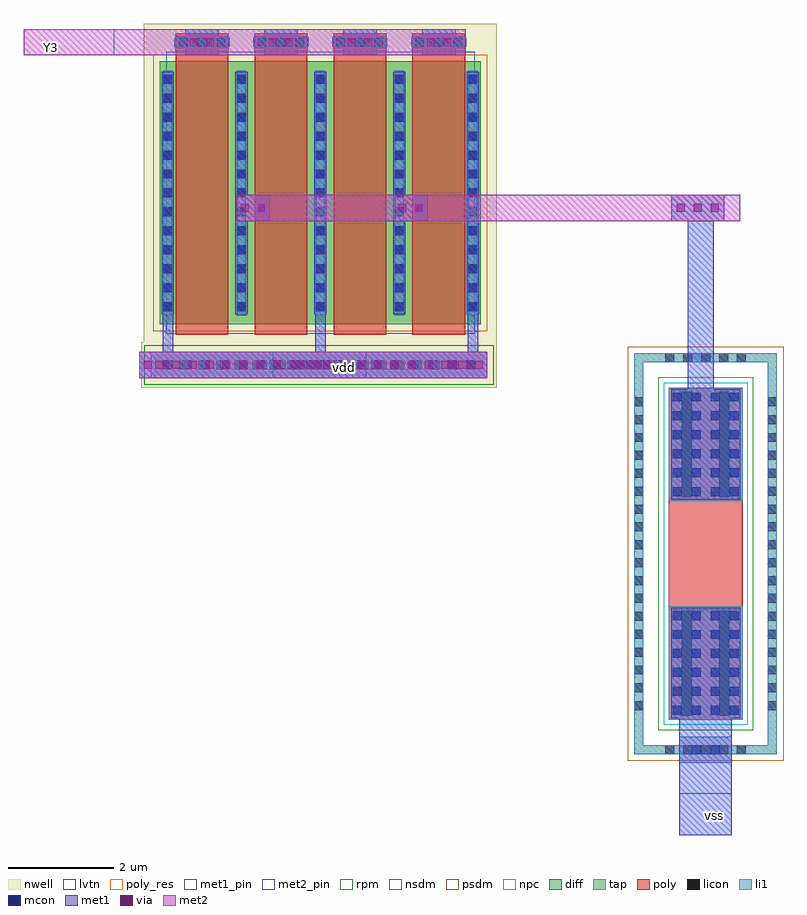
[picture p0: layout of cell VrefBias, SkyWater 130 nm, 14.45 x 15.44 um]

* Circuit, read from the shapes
.subckt VrefBias Y3 vdd vss
XM1 n1 Y3 vdd vdd sky130_fd_pr__pfet_01v8_lvt w=5 l=1 m=4
XR2 n1 vss vss sky130_fd_pr__res_high_po w=1.41 l=2
.ends

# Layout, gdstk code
import gdstk
lib = gdstk.Library(unit=1e-6, precision=5e-09)
def R(c, l, rs):  # rectangles x0, y0, x1, y1
    for r in rs: c.add(gdstk.rectangle(r[:2], r[2:], *l))
def A(c, l, x, y, w, h, nx, ny, dx, dy):  # array of equal rectangles
    R(c, l, [(x+i*dx, y+j*dy, x+i*dx+w, y+j*dy+h) for i in range(nx) for j in range(ny)])
nwell = (64, 20)
diff = (65, 20)
tap = (65, 44)
poly_res = (66, 13)
poly = (66, 20)
licon = (66, 44)
li1 = (67, 20)
mcon = (67, 44)
met1_pin = (68, 16)
met1 = (68, 20)
via = (68, 44)
met2_pin = (69, 16)
met2 = (69, 20)
rpm = (86, 20)
nsdm = (93, 44)
psdm = (94, 20)
npc = (95, 20)
lvtn = (125, 44)

vias_gen = lib.new_cell('vias_gen')
R(vias_gen, met1, [(0,0,0.64,0.5)])
R(vias_gen, via, [(0.085,0.175,0.235,0.325), (0.405,0.175,0.555,0.325)])
R(vias_gen, met2, [(0,0,0.64,0.5)])

pfet = lib.new_cell('pfet')
R(pfet, nwell, [(-0.305,-0.38,6.405,5.72)])
R(pfet, diff, [(0,0,6.1,5)])
A(pfet, poly, 0.3, -0.2, 1, 5.4, 4, 1, 1.5, 0)
A(pfet, poly, 0.3, 5.2, 1, 0.33, 4, 1, 1.5, 0)
A(pfet, licon, 0.065, 0.255, 0.17, 0.17, 1, 13, 0, 0.36)
A(pfet, licon, 1.465, 0.255, 0.17, 0.17, 3, 13, 1.5, 0.36)
A(pfet, licon, 5.865, 0.255, 0.17, 0.17, 1, 13, 0, 0.36)
A(pfet, licon, 0.355, 5.28, 0.17, 0.17, 3, 1, 0.36, 0)
A(pfet, licon, 1.855, 5.28, 0.17, 0.17, 3, 1, 0.36, 0)
A(pfet, licon, 3.355, 5.28, 0.17, 0.17, 3, 1, 0.36, 0)
A(pfet, licon, 4.855, 5.28, 0.17, 0.17, 3, 1, 0.36, 0)
A(pfet, li1, 1.465, 0.175, 0.17, 4.65, 3, 1, 1.5, 0)
A(pfet, li1, 0.275, 5.28, 1.05, 0.17, 4, 1, 1.5, 0)
R(pfet, li1, [(0.065,0.175,0.235,4.825), (5.865,0.175,6.035,4.825)])
A(pfet, mcon, 0.065, 0.255, 0.17, 0.17, 1, 13, 0, 0.36)
A(pfet, mcon, 1.465, 0.255, 0.17, 0.17, 3, 13, 1.5, 0.36)
A(pfet, mcon, 5.865, 0.255, 0.17, 0.17, 1, 13, 0, 0.36)
A(pfet, mcon, 0.355, 5.28, 0.17, 0.17, 3, 1, 0.36, 0)
A(pfet, mcon, 1.855, 5.28, 0.17, 0.17, 3, 1, 0.36, 0)
A(pfet, mcon, 3.355, 5.28, 0.17, 0.17, 3, 1, 0.36, 0)
A(pfet, mcon, 4.855, 5.28, 0.17, 0.17, 3, 1, 0.36, 0)
A(pfet, met1, 1.435, 0.195, 0.23, 4.61, 3, 1, 1.5, 0)
A(pfet, met1, 0.295, 5.25, 1.01, 0.23, 4, 1, 1.5, 0)
R(pfet, met1, [(0.035,0.195,0.265,4.805), (5.835,0.195,6.065,4.805)])
R(pfet, psdm, [(-0.125,-0.125,6.225,5.125)])
A(pfet, npc, 0.29, 5.19, 1.02, 0.35, 4, 1, 1.5, 0)
R(pfet, lvtn, [(0.12,-0.18,5.98,5.18)])

vias_gen_3 = lib.new_cell('vias_gen$3')
R(vias_gen_3, li1, [(0,0,1,0.5)])
R(vias_gen_3, mcon, [(0.235,0.165,0.405,0.335), (0.595,0.165,0.765,0.335)])
R(vias_gen_3, met1, [(0,0,1,0.5)])

vias_gen_2 = lib.new_cell('vias_gen$2')
R(vias_gen_2, met1, [(0,0,1,0.5)])
A(vias_gen_2, via, 0.105, 0.175, 0.15, 0.15, 3, 1, 0.32, 0)
R(vias_gen_2, met2, [(0,0,1,0.5)])

res_poly = lib.new_cell('res_poly')
R(res_poly, tap, [(-1.355,-3.81,1.355,-3.64), (-1.355,-3.64,-1.185,3.64), (1.185,-3.64,1.355,3.64), (-1.355,3.64,1.355,3.81)])
R(res_poly, poly_res, [(-0.705,-1.06,0.705,1.06)])
R(res_poly, poly, [(-0.705,-3.16,0.705,3.16)])
A(res_poly, licon, -0.765, -3.81, 0.17, 0.17, 5, 2, 0.34, 7.45)
A(res_poly, licon, -1.355, -2.975, 0.17, 0.17, 1, 18, 0, 0.34)
A(res_poly, licon, 1.185, -2.975, 0.17, 0.17, 1, 18, 0, 0.34)
R(res_poly, licon, [(-0.45,-3.08,-0.26,-1.08), (0.26,-3.08,0.45,-1.08), (-0.45,1.08,-0.26,3.08), (0.26,1.08,0.45,3.08)])
R(res_poly, li1, [(-1.355,-3.81,1.355,-3.64), (-1.355,-3.64,-1.185,3.64), (1.185,-3.64,1.355,3.64), (-0.705,-3.16,0.705,-1), (-0.705,1,0.705,3.16), (-1.355,3.64,1.355,3.81)])
A(res_poly, mcon, -0.625, -3.06, 0.17, 0.17, 4, 6, 0.36, 0.36)
A(res_poly, mcon, -0.625, 1.095, 0.17, 0.17, 4, 6, 0.36, 0.36)
R(res_poly, met1, [(-0.655,-3.13,0.655,-1.025), (-0.655,1.025,0.655,3.13)])
R(res_poly, rpm, [(-0.905,-3.36,0.905,3.36)])
R(res_poly, psdm, [(-1.48,-3.935,1.48,3.935)])
R(res_poly, npc, [(-0.8,-3.255,0.8,3.255)])

vias_gen_5 = lib.new_cell('vias_gen$5')
R(vias_gen_5, nwell, [(-0.18,-0.18,6.58,0.68)])
R(vias_gen_5, tap, [(0,0,6.4,0.5)])
A(vias_gen_5, licon, 0.225, 0.165, 0.17, 0.17, 18, 1, 0.34, 0)
R(vias_gen_5, li1, [(0,0,6.4,0.5)])
A(vias_gen_5, mcon, 0.235, 0.165, 0.17, 0.17, 17, 1, 0.36, 0)
R(vias_gen_5, met1, [(0,0,6.4,0.5)])
A(vias_gen_5, via, 0.085, 0.175, 0.15, 0.15, 20, 1, 0.32, 0)
R(vias_gen_5, met2, [(0,0,6.4,0.5)])
R(vias_gen_5, nsdm, [(-0.125,-0.125,6.525,0.625)])

vrefbias = lib.new_cell('VrefBias')
R(vrefbias, met1_pin, [(20.61,2.385,21.61,3.185)])
R(vrefbias, met2_pin, [(12.875,11.08,14.655,11.58), (8.14,17.215,9.865,17.715)])
vrefbias.add(gdstk.FlexPath([(12.285,16.905),(12.285,12.275)], 0.2, ends="flush", simple_path=True, layer=68, datatype=20))  # met1
vrefbias.add(gdstk.FlexPath([(15.285,16.905),(15.285,12.295)], 0.2, ends="flush", simple_path=True, layer=68, datatype=20))  # met1
vrefbias.add(gdstk.FlexPath([(21.015,9.195),(21.015,14.565)], 0.5, ends="flush", simple_path=True, layer=68, datatype=20))  # met1
vrefbias.add(gdstk.FlexPath([(10.885,16.905),(10.885,11.08)], 0.2, ends="flush", simple_path=True, layer=68, datatype=20))  # met1
vrefbias.add(gdstk.FlexPath([(13.785,16.905),(13.785,11.08)], 0.2, ends="flush", simple_path=True, layer=68, datatype=20))  # met1
vrefbias.add(gdstk.FlexPath([(21.11,6.25),(21.11,2.385)], 1, ends="flush", simple_path=True, layer=68, datatype=20))  # met1
vrefbias.add(gdstk.FlexPath([(16.685,16.905),(16.685,11.08)], 0.2, ends="flush", simple_path=True, layer=68, datatype=20))  # met1
vrefbias.add(gdstk.FlexPath([(21.765,14.315),(12.42,14.315),(12.185,14.315)], 0.5, ends="flush", simple_path=True, layer=69, datatype=20))  # met2
vrefbias.add(gdstk.FlexPath([(16.785,11.33),(10.38,11.33)], 0.5, ends="flush", simple_path=True, layer=69, datatype=20))  # met2
vrefbias.add(gdstk.FlexPath([(16.545,17.465),(10.175,17.465),(8.14,17.465)], 0.5, ends="flush", simple_path=True, layer=69, datatype=20))  # met2
vrefbias.add(gdstk.Reference(vias_gen, (11.215,17.215)))
vrefbias.add(gdstk.Reference(pfet, (10.735,12.1)))
vrefbias.add(gdstk.Reference(vias_gen, (12.715,17.215)))
vrefbias.add(gdstk.Reference(vias_gen, (14.215,17.215)))
vrefbias.add(gdstk.Reference(vias_gen, (15.72,17.215)))
vrefbias.add(gdstk.Reference(vias_gen, (10.345,11.08)))
vrefbias.add(gdstk.Reference(vias_gen, (13.245,11.08)))
vrefbias.add(gdstk.Reference(vias_gen, (16.145,11.08)))
vrefbias.add(gdstk.Reference(vias_gen_3, (20.61,3.765)))
vrefbias.add(gdstk.Reference(vias_gen_2, (20.46,14.065)))
vrefbias.add(gdstk.Reference(res_poly, (21.11,7.74)))
vrefbias.add(gdstk.Reference(vias_gen, (12.185,14.065)))
vrefbias.add(gdstk.Reference(vias_gen, (15.185,14.065)))
vrefbias.add(gdstk.Reference(vias_gen_5, (10.56,11.08)))
vrefbias.add(gdstk.Label('vss', (21.28,2.77), layer=68, texttype=16))
vrefbias.add(gdstk.Label('vdd', (14.245,11.285), layer=69, texttype=16))
vrefbias.add(gdstk.Label('Y3', (8.67,17.37), layer=69, texttype=16))

lib.write_gds('VrefBias.gds')
